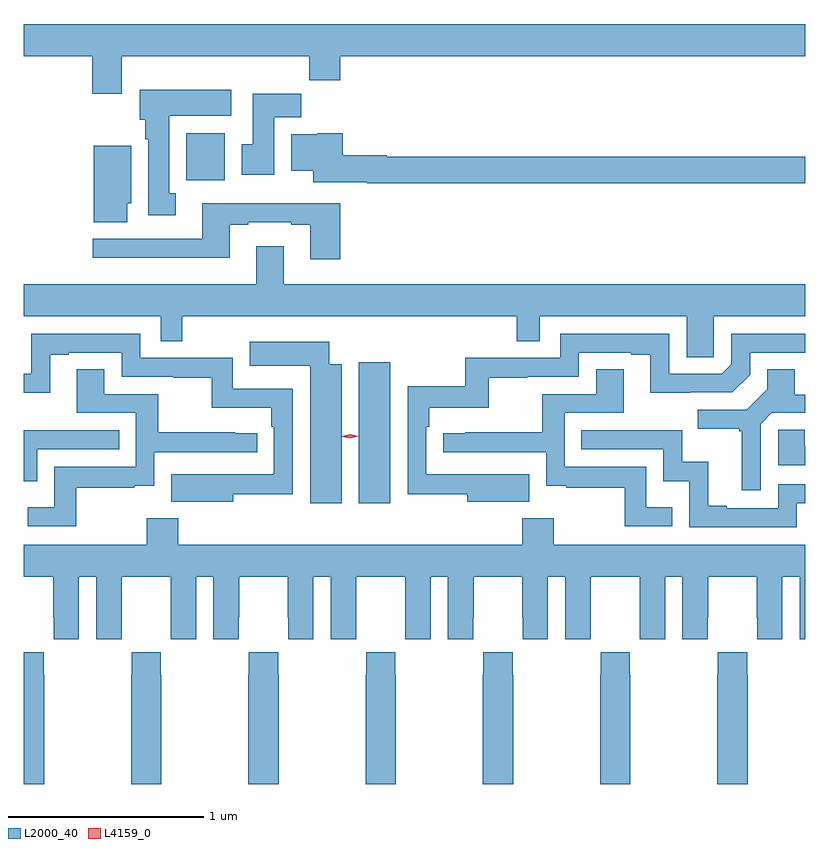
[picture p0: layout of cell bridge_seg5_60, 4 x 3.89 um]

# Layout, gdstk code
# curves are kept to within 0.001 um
import gdstk
lib = gdstk.Library(unit=1e-6, precision=1e-09)
def R(c, l, rs):  # rectangles x0, y0, x1, y1
    for r in rs: c.add(gdstk.rectangle(r[:2], r[2:], *l))
def P(c, l, *ps):  # polygons
    for p in ps: c.add(gdstk.Polygon(p, *l))
L2000_40 = (2000, 40)
L4159_0 = (4159, 0)

bridge_seg5_60 = lib.new_cell('bridge_seg5_60')
R(bridge_seg5_60, L2000_40, [(888.632,891.768,888.793,892.489), (887.75,893.42,887.947,893.662)])
P(bridge_seg5_60, L2000_40, [(887.419,894.056),(888.379,894.056),(888.379,893.932),(888.536,893.932),(888.536,894.056),(890.917,894.056),(890.917,894.22),(886.917,894.22),(886.917,894.056),(887.267,894.056),(887.267,893.862),(887.419,893.862)],
  [(887.695,893.354),(887.662,893.354),(887.662,893.75),(887.98,893.75),(887.98,893.884),(887.51,893.884),(887.51,893.73),(887.54,893.73),(887.54,893.63),(887.555,893.63),(887.555,893.241),(887.695,893.241)],
  [(888.199,893.744),(888.338,893.744),(888.338,893.863),(888.089,893.863),(888.089,893.604),(888.032,893.604),(888.032,893.448),(888.199,893.448)],
  [(890.917,893.54),(888.774,893.54),(888.774,893.548),(888.551,893.548),(888.551,893.662),(888.42,893.662),(888.42,893.656),(888.287,893.656),(888.287,893.468),(888.398,893.468),(888.398,893.411),(888.674,893.411),(888.674,893.404),(890.917,893.404)],
  [(887.446,893.304),(887.467,893.304),(887.467,893.596),(887.276,893.596),(887.276,893.206),(887.446,893.206)],
  [(888.536,893.302),(887.831,893.302),(887.831,893.121),(887.271,893.121),(887.271,893.024),(887.971,893.024),(887.971,893.193),(888.067,893.193),(888.067,893.205),(888.287,893.205),(888.287,893.193),(888.383,893.193),(888.383,893.016),(888.536,893.016)],
  [(890.448,892.724),(890.917,892.724),(890.917,892.888),(888.247,892.888),(888.247,893.083),(888.107,893.083),(888.107,892.888),(886.917,892.888),(886.917,892.724),(887.619,892.724),(887.619,892.597),(887.728,892.597),(887.728,892.724),(889.441,892.724),(889.441,892.597),(889.557,892.597),(889.557,892.724),(890.309,892.724),(890.309,892.516),(890.448,892.516)],
  [(887.989,891.814),(888.294,891.814),(888.294,892.353),(887.988,892.353),(887.988,892.512),(887.514,892.512),(887.514,892.635),(886.956,892.635),(886.956,892.431),(886.917,892.431),(886.917,892.334),(887.053,892.334),(887.053,892.527),(887.149,892.527),(887.149,892.539),(887.418,892.539),(887.418,892.416),(887.683,892.416),(887.683,892.411),(887.88,892.411),(887.88,892.256),(888.185,892.256),(888.185,892.16),(888.198,892.16),(888.198,891.915),(887.885,891.915),(887.885,891.916),(887.671,891.916),(887.671,891.776),(887.989,891.776)],
  [(889.505,891.916),(888.978,891.915),(888.978,892.16),(888.992,892.16),(888.992,892.256),(889.297,892.256),(889.297,892.411),(889.493,892.411),(889.493,892.416),(889.758,892.416),(889.758,892.539),(890.027,892.539),(890.027,892.527),(890.123,892.527),(890.123,892.334),(890.544,892.335),(890.634,892.425),(890.634,892.539),(890.917,892.539),(890.917,892.635),(890.538,892.635),(890.538,892.479),(890.49,892.431),(890.22,892.431),(890.22,892.635),(889.662,892.635),(889.662,892.512),(889.176,892.512),(889.176,892.366),(888.882,892.366),(888.882,891.814),(889.187,891.814),(889.187,891.776),(889.505,891.776)],
  [(888.544,892.48),(888.481,892.48),(888.481,892.594),(888.073,892.594),(888.073,892.472),(888.383,892.472),(888.383,891.768),(888.544,891.768)],
  [(887.185,891.846),(887.483,891.846),(887.483,891.857),(887.586,891.857),(887.586,892.029),(888.112,892.029),(888.112,892.125),(887.999,892.125),(887.999,892.13),(887.606,892.13),(887.606,892.326),(887.329,892.326),(887.329,892.454),(887.189,892.454),(887.189,892.23),(887.49,892.23),(887.49,891.954),(887.074,891.954),(887.074,891.748),(886.939,891.748),(886.939,891.651),(887.185,891.651)],
  [(890.237,891.748),(890.103,891.748),(890.103,891.954),(889.686,891.954),(889.686,892.23),(889.987,892.23),(889.987,892.454),(889.847,892.454),(889.847,892.326),(889.57,892.326),(889.57,892.13),(889.177,892.13),(889.177,892.125),(889.065,892.125),(889.065,892.029),(889.59,892.029),(889.59,891.857),(889.693,891.857),(889.693,891.846),(889.992,891.846),(889.992,891.651),(890.237,891.651)],
  [(890.688,892.173),(890.745,892.23),(890.917,892.23),(890.917,892.322),(890.863,892.322),(890.863,892.454),(890.723,892.454),(890.723,892.352),(890.616,892.245),(890.367,892.245),(890.367,892.148),(890.58,892.148),(890.58,892.137),(890.591,892.137),(890.591,891.834),(890.688,891.834)],
  [(890.917,892.059),(890.915,892.059),(890.915,892.143),(890.778,892.143),(890.778,891.963),(890.917,891.963)],
  [(890.874,891.768),(890.917,891.768),(890.917,891.864),(890.778,891.864),(890.778,891.741),(890.515,891.741),(890.515,891.754),(890.419,891.754),(890.419,891.979),(890.286,891.979),(890.286,892.14),(889.771,892.14),(889.771,892.044),(890.19,892.044),(890.19,891.881),(890.322,891.881),(890.322,891.645),(890.874,891.645)],
  [(886.986,892.044),(887.405,892.044),(887.405,892.14),(886.917,892.14),(886.917,891.881),(886.986,891.881)],
  [(887.548,891.556),(886.917,891.556),(886.917,891.392),(887.069,891.392),(887.069,891.184),(887.07,891.184),(887.07,891.072),(887.2,891.072),(887.2,891.392),(887.288,891.392),(887.288,891.072),(887.418,891.072),(887.418,891.184),(887.419,891.184),(887.419,891.392),(887.669,891.392),(887.669,891.184),(887.67,891.184),(887.67,891.072),(887.8,891.072),(887.8,891.392),(887.888,891.392),(887.888,891.072),(888.018,891.072),(888.018,891.184),(888.019,891.184),(888.019,891.392),(888.269,891.392),(888.269,891.184),(888.27,891.184),(888.27,891.072),(888.4,891.072),(888.4,891.392),(888.488,891.392),(888.488,891.072),(888.618,891.072),(888.618,891.184),(888.619,891.184),(888.619,891.392),(888.869,891.392),(888.869,891.184),(888.87,891.184),(888.87,891.072),(889,891.072),(889,891.392),(889.088,891.392),(889.088,891.072),(889.218,891.072),(889.218,891.184),(889.219,891.184),(889.219,891.392),(889.469,891.392),(889.469,891.184),(889.47,891.184),(889.47,891.072),(889.6,891.072),(889.6,891.392),(889.688,891.392),(889.688,891.072),(889.818,891.072),(889.818,891.184),(889.819,891.184),(889.819,891.392),(890.069,891.392),(890.069,891.184),(890.07,891.184),(890.07,891.072),(890.2,891.072),(890.2,891.392),(890.288,891.392),(890.288,891.072),(890.418,891.072),(890.418,891.184),(890.419,891.184),(890.419,891.392),(890.669,891.392),(890.669,891.184),(890.67,891.184),(890.67,891.072),(890.8,891.072),(890.8,891.392),(890.888,891.392),(890.888,891.072),(890.917,891.072),(890.917,891.556),(889.629,891.556),(889.629,891.691),(889.469,891.691),(889.469,891.556),(887.708,891.556),(887.708,891.691),(887.548,891.691)],
  [(887.022,890.891),(887.019,890.891),(887.019,891.004),(886.917,891.004),(886.917,890.331),(887.022,890.331)],
  [(887.622,890.891),(887.619,890.891),(887.619,891.004),(887.469,891.004),(887.469,890.891),(887.467,890.891),(887.467,890.331),(887.622,890.331)],
  [(888.222,890.891),(888.219,890.891),(888.219,891.004),(888.069,891.004),(888.069,890.891),(888.067,890.891),(888.067,890.331),(888.222,890.331)],
  [(888.822,890.891),(888.819,890.891),(888.819,891.004),(888.669,891.004),(888.669,890.891),(888.667,890.891),(888.667,890.331),(888.822,890.331)],
  [(889.422,890.891),(889.419,890.891),(889.419,891.004),(889.269,891.004),(889.269,890.891),(889.267,890.891),(889.267,890.331),(889.422,890.331)],
  [(890.622,890.891),(890.619,890.891),(890.619,891.004),(890.469,891.004),(890.469,890.891),(890.467,890.891),(890.467,890.331),(890.622,890.331)],
  [(890.022,890.891),(890.019,890.891),(890.019,891.004),(889.869,891.004),(889.869,890.891),(889.867,890.891),(889.867,890.331),(890.022,890.331)])
P(bridge_seg5_60, L4159_0, [(888.588,892.1),(888.548,892.109),(888.548,892.11),(888.548,892.11),(888.588,892.12),(888.628,892.11),(888.628,892.11),(888.628,892.11)])

lib.write_gds('bridge_seg5_60.gds')
